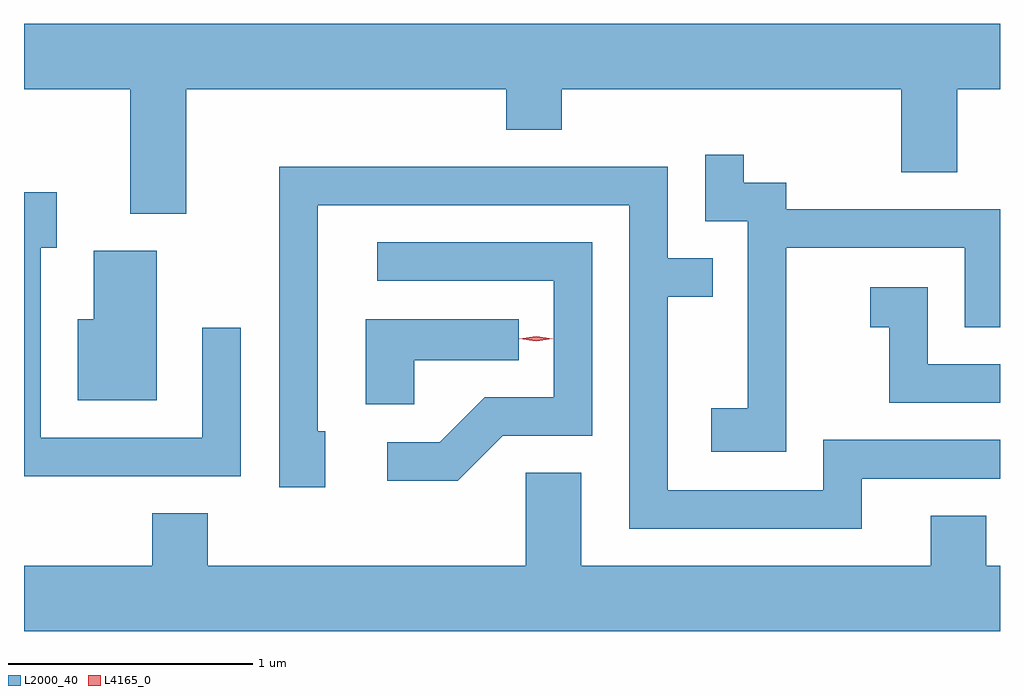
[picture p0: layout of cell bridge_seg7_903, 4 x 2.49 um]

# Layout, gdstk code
import gdstk
lib = gdstk.Library(unit=1e-6, precision=1e-09)
def P(c, l, *ps):  # polygons
    for p in ps: c.add(gdstk.Polygon(p, *l))
L2000_40 = (2000, 40)
L4165_0 = (4165, 0)

bridge_seg7_903 = lib.new_cell('bridge_seg7_903')
P(bridge_seg7_903, L2000_40, [(589.369,1696.556),(590.681,1696.556),(590.681,1696.391),(590.909,1696.391),(590.909,1696.556),(592.301,1696.556),(592.301,1696.216),(592.529,1696.216),(592.529,1696.556),(592.705,1696.556),(592.705,1696.824),(588.705,1696.824),(588.705,1696.556),(589.141,1696.556),(589.141,1696.046),(589.369,1696.046)],
  [(591.829,1695.906),(592.561,1695.906),(592.561,1695.581),(592.705,1695.581),(592.705,1696.064),(591.829,1696.064),(591.829,1696.174),(591.654,1696.174),(591.654,1696.288),(591.496,1696.288),(591.496,1696.016),(591.671,1696.016),(591.671,1695.249),(591.521,1695.249),(591.521,1695.071),(591.829,1695.071)],
  [(592.139,1694.961),(592.705,1694.961),(592.705,1695.119),(591.981,1695.119),(591.981,1694.914),(591.344,1694.914),(591.344,1695.706),(591.528,1695.706),(591.528,1695.864),(591.344,1695.864),(591.344,1696.239),(589.751,1696.239),(589.751,1694.926),(589.939,1694.926),(589.939,1695.154),(589.909,1695.154),(589.909,1696.081),(591.186,1696.081),(591.186,1694.756),(592.139,1694.756)],
  [(589.594,1695.578),(589.436,1695.578),(589.436,1695.129),(588.774,1695.129),(588.774,1695.906),(588.839,1695.906),(588.839,1696.134),(588.705,1696.134),(588.705,1694.971),(589.594,1694.971)],
  [(590.667,1695.136),(591.034,1695.136),(591.034,1695.929),(590.153,1695.929),(590.153,1695.771),(590.876,1695.771),(590.876,1695.294),(590.594,1695.294),(590.409,1695.109),(590.193,1695.109),(590.193,1694.951),(590.482,1694.951)],
  [(589.249,1695.894),(588.991,1695.894),(588.991,1695.614),(588.926,1695.614),(588.926,1695.281),(589.249,1695.281)],
  [(592.705,1695.429),(592.409,1695.429),(592.409,1695.744),(592.173,1695.744),(592.173,1695.581),(592.251,1695.581),(592.251,1695.271),(592.705,1695.271)],
  [(590.304,1695.446),(590.733,1695.446),(590.733,1695.614),(590.106,1695.614),(590.106,1695.266),(590.304,1695.266)],
  [(592.705,1694.604),(592.649,1694.604),(592.649,1694.809),(592.421,1694.809),(592.421,1694.604),(590.989,1694.604),(590.989,1694.984),(590.761,1694.984),(590.761,1694.604),(589.459,1694.604),(589.459,1694.819),(589.231,1694.819),(589.231,1694.604),(588.705,1694.604),(588.705,1694.336),(592.705,1694.336)])
P(bridge_seg7_903, L4165_0, [(590.804,1695.524),(590.734,1695.533),(590.734,1695.534),(590.734,1695.534),(590.804,1695.544),(590.873,1695.534),(590.873,1695.534),(590.873,1695.533)])

lib.write_gds('bridge_seg7_903.gds')
